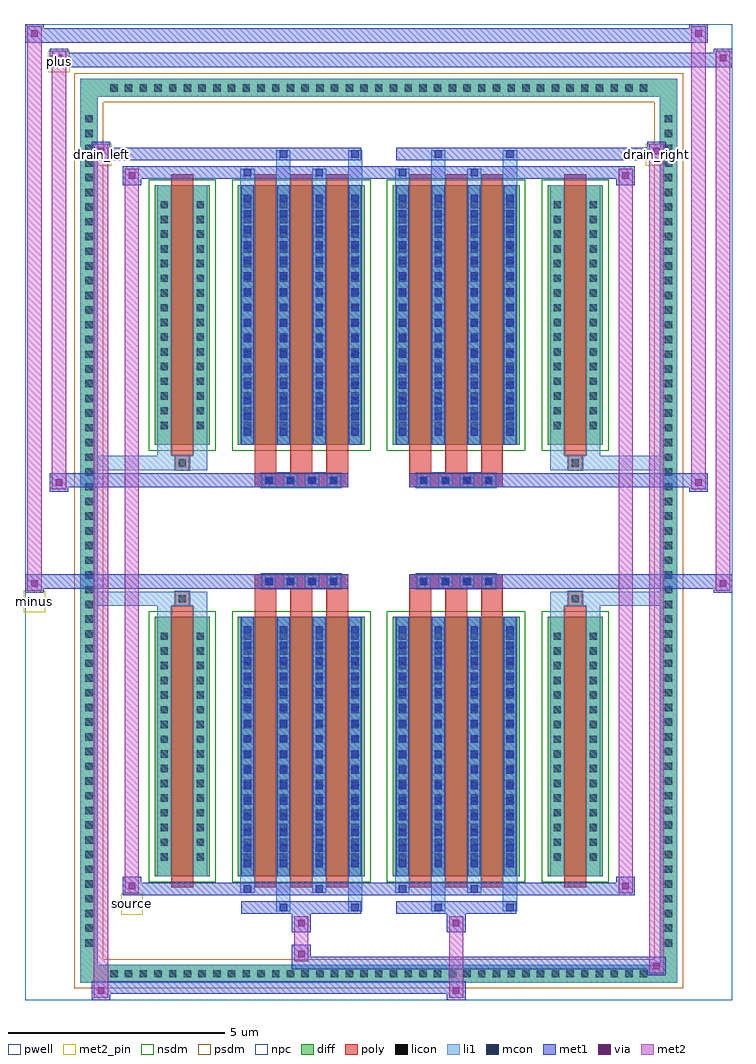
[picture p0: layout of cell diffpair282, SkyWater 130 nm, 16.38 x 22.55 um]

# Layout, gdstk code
import gdstk
lib = gdstk.Library(unit=1e-6, precision=5e-09)
def R(c, l, rs):  # rectangles x0, y0, x1, y1
    for r in rs: c.add(gdstk.rectangle(r[:2], r[2:], *l))
def A(c, l, x, y, w, h, nx, ny, dx, dy):  # array of equal rectangles
    R(c, l, [(x+i*dx, y+j*dy, x+i*dx+w, y+j*dy+h) for i in range(nx) for j in range(ny)])
def P(c, l, *ps):  # polygons
    for p in ps: c.add(gdstk.Polygon(p, *l))
pwell = (64, 44)
diff = (65, 20)
poly = (66, 20)
licon = (66, 44)
li1 = (67, 20)
mcon = (67, 44)
met1 = (68, 20)
via = (68, 44)
met2_pin = (69, 16)
met2 = (69, 20)
nsdm = (93, 44)
psdm = (94, 20)
npc = (95, 20)

diffpair282 = lib.new_cell('diffpair282')
R(diffpair282, pwell, [(-8.17,-10.84,8.17,11.71), (-5.49,-9.03,-0.01,-0.805), (0.01,-9.03,5.49,-0.805), (-5.49,0.805,-0.01,9.03), (0.01,0.805,5.49,9.03)])
A(diffpair282, diff, -6.325, -10.44, 0.41, 0.41, 37, 2, 0.34, 20.47)
A(diffpair282, diff, -6.9, -9.725, 0.41, 0.41, 1, 57, 0, 0.34)
A(diffpair282, diff, 6.49, -9.725, 0.41, 0.41, 1, 57, 0, 0.34)
R(diffpair282, diff, [(-6.325,-10.44,6.325,-10.03), (-6.9,-9.725,-6.49,9.725), (6.49,-9.725,6.9,9.725), (-5.18,-7.985,-3.9,-1.985), (-3.26,-7.985,-0.32,-1.985), (0.32,-7.985,3.26,-1.985), (3.9,-7.985,5.18,-1.985), (-5.18,1.985,-3.9,7.985), (-3.26,1.985,-0.32,7.985), (0.32,1.985,3.26,7.985), (3.9,1.985,5.18,7.985), (-6.325,10.03,6.325,10.44)])
P(diffpair282, diff, [(6.9,10.44),(-6.9,10.44),(-6.9,-10.03),(-6.49,-10.03),(-6.49,10.03),(6.49,10.03),(6.49,-10.03),(-6.49,-10.03),(-6.9,-10.03),(-6.9,-10.44),(6.9,-10.44)])
A(diffpair282, poly, -2.87, -8.235, 0.5, 6.5, 3, 2, 0.83, 9.97)
A(diffpair282, poly, 0.71, -8.235, 0.5, 6.5, 3, 2, 0.83, 9.97)
A(diffpair282, poly, -2.87, -1.735, 0.5, 0.4, 3, 2, 0.83, 3.07)
A(diffpair282, poly, 0.71, -1.735, 0.5, 0.4, 3, 2, 0.83, 3.07)
A(diffpair282, poly, -2.705, -1.335, 0.33, 0.33, 4, 2, 0.5, 2.34)
A(diffpair282, poly, 0.875, -1.335, 0.33, 0.33, 4, 2, 0.5, 2.34)
R(diffpair282, poly, [(-4.79,-8.235,-4.29,-1.735), (4.29,-8.235,4.79,-1.735), (-4.705,-1.735,-4.375,-1.405), (-4.705,-1.735,-4.375,-1.405), (4.375,-1.735,4.705,-1.405), (4.375,-1.735,4.705,-1.405), (-2.87,-1.335,-0.71,-1.005), (0.71,-1.335,2.87,-1.005), (-2.87,1.005,-0.71,1.335), (0.71,1.005,2.87,1.335), (-4.705,1.405,-4.375,1.735), (-4.705,1.405,-4.375,1.735), (4.375,1.405,4.705,1.735), (4.375,1.405,4.705,1.735), (-4.79,1.735,-4.29,8.235), (4.29,1.735,4.79,8.235)])
A(diffpair282, licon, -6.205, -10.32, 0.17, 0.17, 37, 2, 0.34, 20.47)
A(diffpair282, licon, -6.78, -9.605, 0.17, 0.17, 1, 57, 0, 0.34)
A(diffpair282, licon, 6.61, -9.605, 0.17, 0.17, 1, 57, 0, 0.34)
A(diffpair282, licon, -5.04, -7.62, 0.17, 0.17, 1, 16, 0, 0.34)
A(diffpair282, licon, -4.21, -7.62, 0.17, 0.17, 1, 16, 0, 0.34)
A(diffpair282, licon, -3.12, -7.62, 0.17, 0.17, 4, 16, 0.83, 0.34)
A(diffpair282, licon, 0.46, -7.62, 0.17, 0.17, 4, 16, 0.83, 0.34)
A(diffpair282, licon, 4.04, -7.62, 0.17, 0.17, 1, 16, 0, 0.34)
A(diffpair282, licon, 4.87, -7.62, 0.17, 0.17, 1, 16, 0, 0.34)
A(diffpair282, licon, -2.625, -1.255, 0.17, 0.17, 4, 2, 0.5, 2.34)
A(diffpair282, licon, 0.955, -1.255, 0.17, 0.17, 4, 2, 0.5, 2.34)
A(diffpair282, licon, -5.04, 2.35, 0.17, 0.17, 1, 16, 0, 0.34)
A(diffpair282, licon, -4.21, 2.35, 0.17, 0.17, 1, 16, 0, 0.34)
A(diffpair282, licon, -3.12, 2.35, 0.17, 0.17, 4, 16, 0.83, 0.34)
A(diffpair282, licon, 0.46, 2.35, 0.17, 0.17, 4, 16, 0.83, 0.34)
A(diffpair282, licon, 4.04, 2.35, 0.17, 0.17, 1, 16, 0, 0.34)
A(diffpair282, licon, 4.87, 2.35, 0.17, 0.17, 1, 16, 0, 0.34)
R(diffpair282, licon, [(-4.625,-1.655,-4.455,-1.485), (4.455,-1.655,4.625,-1.485), (-4.625,1.485,-4.455,1.655), (4.455,1.485,4.625,1.655)])
A(diffpair282, li1, -6.285, -10.4, 0.33, 0.33, 37, 2, 0.34, 20.47)
A(diffpair282, li1, -6.86, -9.685, 0.33, 0.33, 1, 57, 0, 0.34)
A(diffpair282, li1, 6.53, -9.685, 0.33, 0.33, 1, 57, 0, 0.34)
A(diffpair282, li1, -3.2, -7.985, 0.33, 6, 4, 2, 0.83, 9.97)
A(diffpair282, li1, 0.38, -7.985, 0.33, 6, 4, 2, 0.83, 9.97)
A(diffpair282, li1, -3.12, -7.77, 0.17, 0.17, 4, 16, 0.83, 0.36)
A(diffpair282, li1, -3.12, -7.77, 0.17, 5.57, 4, 2, 0.83, 9.97)
A(diffpair282, li1, 0.46, -7.77, 0.17, 0.17, 4, 16, 0.83, 0.36)
A(diffpair282, li1, 0.46, -7.77, 0.17, 5.57, 4, 2, 0.83, 9.97)
A(diffpair282, li1, -5.12, -7.7, 0.33, 0.33, 1, 16, 0, 0.34)
A(diffpair282, li1, -4.29, -7.7, 0.33, 0.33, 1, 16, 0, 0.34)
A(diffpair282, li1, -3.2, -7.7, 0.33, 0.33, 4, 16, 0.83, 0.34)
A(diffpair282, li1, 0.38, -7.7, 0.33, 0.33, 4, 16, 0.83, 0.34)
A(diffpair282, li1, 3.96, -7.7, 0.33, 0.33, 1, 16, 0, 0.34)
A(diffpair282, li1, 4.79, -7.7, 0.33, 0.33, 1, 16, 0, 0.34)
A(diffpair282, li1, -2.705, -1.335, 0.33, 0.33, 4, 2, 0.5, 2.34)
A(diffpair282, li1, 0.875, -1.335, 0.33, 0.33, 4, 2, 0.5, 2.34)
A(diffpair282, li1, -3.12, 2.2, 0.17, 0.17, 4, 16, 0.83, 0.36)
A(diffpair282, li1, 0.46, 2.2, 0.17, 0.17, 4, 16, 0.83, 0.36)
A(diffpair282, li1, -5.12, 2.27, 0.33, 0.33, 1, 16, 0, 0.34)
A(diffpair282, li1, -4.29, 2.27, 0.33, 0.33, 1, 16, 0, 0.34)
A(diffpair282, li1, -3.2, 2.27, 0.33, 0.33, 4, 16, 0.83, 0.34)
A(diffpair282, li1, 0.38, 2.27, 0.33, 0.33, 4, 16, 0.83, 0.34)
A(diffpair282, li1, 3.96, 2.27, 0.33, 0.33, 1, 16, 0, 0.34)
A(diffpair282, li1, 4.79, 2.27, 0.33, 0.33, 1, 16, 0, 0.34)
R(diffpair282, li1, [(-6.9,-10.44,-6.49,-10.03), (-6.9,-10.44,-6.49,-10.03), (-6.49,-10.44,6.49,-10.03), (6.49,-10.44,6.9,-10.03), (6.49,-10.44,6.9,-10.03), (-6.9,-10.03,-6.49,10.03), (6.49,-10.03,6.9,10.03), (-2.37,-8.79,-2.04,-7.985), (-2.29,-8.79,-2.12,-8.62), (-0.71,-8.79,-0.38,-7.985), (-0.63,-8.79,-0.46,-8.62), (1.21,-8.79,1.54,-7.985), (1.29,-8.79,1.46,-8.62), (2.87,-8.79,3.2,-7.985), (2.95,-8.79,3.12,-8.62), (-3.2,-8.36,-2.87,-7.985), (-3.12,-8.36,-2.95,-8.19), (-1.54,-8.36,-1.21,-7.985), (-1.46,-8.36,-1.29,-8.19), (0.38,-8.36,0.71,-7.985), (0.46,-8.36,0.63,-8.19), (2.04,-8.36,2.37,-7.985), (2.12,-8.36,2.29,-8.19), (-5.12,-7.985,-4.79,-1.985), (-4.29,-7.985,-3.96,-1.985), (3.96,-7.985,4.29,-1.985), (4.79,-7.985,5.12,-1.985), (-5.12,-1.985,-4.79,-1.405), (-4.29,-1.985,-3.96,-1.405), (3.96,-1.985,4.29,-1.405), (4.79,-1.985,5.12,-1.405), (-6.9,-1.735,-4.705,-1.405), (-5.12,-1.735,-4.705,-1.405), (-4.705,-1.735,-4.375,-1.405), (-4.375,-1.735,-3.96,-1.405), (3.96,-1.735,4.375,-1.405), (4.375,-1.735,4.705,-1.405), (4.375,-1.735,6.9,-1.405), (4.705,-1.735,5.12,-1.405), (-6.9,1.405,-4.705,1.735), (-5.12,1.405,-4.705,1.735), (-5.12,1.405,-4.79,1.985), (-4.705,1.405,-4.375,1.735), (-4.375,1.405,-3.96,1.735), (-4.29,1.405,-3.96,1.985), (3.96,1.405,4.375,1.735), (3.96,1.405,4.29,1.985), (4.375,1.405,4.705,1.735), (4.375,1.405,6.9,1.735), (4.705,1.405,5.12,1.735), (4.79,1.405,5.12,1.985), (-5.12,1.985,-4.79,7.985), (-4.29,1.985,-3.96,7.985), (3.96,1.985,4.29,7.985), (4.79,1.985,5.12,7.985), (-3.2,7.985,-2.87,8.36), (-2.37,7.985,-2.04,8.79), (-1.54,7.985,-1.21,8.36), (-0.71,7.985,-0.38,8.79), (0.38,7.985,0.71,8.36), (1.21,7.985,1.54,8.79), (2.04,7.985,2.37,8.36), (2.87,7.985,3.2,8.79), (-3.12,8.19,-2.95,8.36), (-1.46,8.19,-1.29,8.36), (0.46,8.19,0.63,8.36), (2.12,8.19,2.29,8.36), (-2.29,8.62,-2.12,8.79), (-0.63,8.62,-0.46,8.79), (1.29,8.62,1.46,8.79), (2.95,8.62,3.12,8.79), (-6.9,10.03,-6.49,10.44), (-6.9,10.03,-6.49,10.44), (-6.49,10.03,6.49,10.44), (6.49,10.03,6.9,10.44), (6.49,10.03,6.9,10.44)])
A(diffpair282, mcon, -3.12, -7.77, 0.17, 0.17, 4, 16, 0.83, 0.36)
A(diffpair282, mcon, 0.46, -7.77, 0.17, 0.17, 4, 16, 0.83, 0.36)
A(diffpair282, mcon, -2.625, -1.255, 0.17, 0.17, 4, 2, 0.5, 2.34)
A(diffpair282, mcon, 0.955, -1.255, 0.17, 0.17, 4, 2, 0.5, 2.34)
A(diffpair282, mcon, -3.12, 2.2, 0.17, 0.17, 4, 16, 0.83, 0.36)
A(diffpair282, mcon, 0.46, 2.2, 0.17, 0.17, 4, 16, 0.83, 0.36)
R(diffpair282, mcon, [(-2.29,-8.79,-2.12,-8.62), (-0.63,-8.79,-0.46,-8.62), (1.29,-8.79,1.46,-8.62), (2.95,-8.79,3.12,-8.62), (-3.12,-8.36,-2.95,-8.19), (-1.46,-8.36,-1.29,-8.19), (0.46,-8.36,0.63,-8.19), (2.12,-8.36,2.29,-8.19), (-3.12,8.19,-2.95,8.36), (-1.46,8.19,-1.29,8.36), (0.46,8.19,0.63,8.36), (2.12,8.19,2.29,8.36), (-2.29,8.62,-2.12,8.79), (-0.63,8.62,-0.46,8.79), (1.29,8.62,1.46,8.79), (2.95,8.62,3.12,8.79)])
A(diffpair282, met1, -3.18, -7.985, 0.29, 6, 4, 2, 0.83, 9.97)
A(diffpair282, met1, 0.4, -7.985, 0.29, 6, 4, 2, 0.83, 9.97)
A(diffpair282, met1, -3.18, -7.83, 0.29, 0.29, 4, 16, 0.83, 0.36)
A(diffpair282, met1, 0.4, -7.83, 0.29, 0.29, 4, 16, 0.83, 0.36)
A(diffpair282, met1, -2.685, -1.315, 0.29, 0.29, 4, 2, 0.5, 2.34)
A(diffpair282, met1, 0.895, -1.315, 0.29, 0.29, 4, 2, 0.5, 2.34)
A(diffpair282, met1, -3.18, 2.14, 0.29, 0.29, 4, 16, 0.83, 0.36)
A(diffpair282, met1, 0.4, 2.14, 0.29, 0.29, 4, 16, 0.83, 0.36)
R(diffpair282, met1, [(-6.63,-10.84,-6.2,-10.41), (1.575,-10.84,2.005,-10.41), (-6.63,-10.7,2.005,-10.41), (6.2,-10.27,6.63,-9.84), (-2.005,-10.13,6.63,-9.84), (-2.005,-9.99,-1.575,-9.56), (-2.005,-9.28,-1.575,-8.85), (1.575,-9.28,2.005,-8.85), (-3.18,-8.85,-0.4,-8.56), (-2.35,-8.85,-2.06,-8.56), (-0.69,-8.85,-0.4,-8.56), (0.4,-8.85,3.18,-8.56), (1.23,-8.85,1.52,-8.56), (2.89,-8.85,3.18,-8.56), (-5.92,-8.42,-5.49,-7.99), (-5.92,-8.42,-3.18,-8.13), (-3.18,-8.42,-2.89,-8.13), (-3.18,-8.42,-0.4,-8.13), (-1.52,-8.42,-1.23,-8.13), (-0.4,-8.42,0.4,-8.13), (0.4,-8.42,0.69,-8.13), (0.4,-8.42,3.18,-8.13), (2.06,-8.42,2.35,-8.13), (3.18,-8.42,5.92,-8.13), (5.49,-8.42,5.92,-7.99), (-8.17,-1.435,-7.74,-1.005), (7.74,-1.435,8.17,-1.005), (-8.17,-1.335,-0.71,-1.005), (-2.87,-1.335,-0.71,-1.005), (0.71,-1.335,2.87,-1.005), (0.71,-1.335,8.17,-1.005), (-7.6,0.905,-7.17,1.335), (7.17,0.905,7.6,1.335), (-7.6,1.005,-2.87,1.335), (-2.87,1.005,-0.71,1.335), (0.71,1.005,2.87,1.335), (2.87,1.005,7.6,1.335), (-5.92,7.99,-5.49,8.42), (5.49,7.99,5.92,8.42), (-5.92,8.13,-3.18,8.42), (-3.18,8.13,-2.89,8.42), (-3.18,8.13,-0.4,8.42), (-1.52,8.13,-1.23,8.42), (-0.4,8.13,0.4,8.42), (0.4,8.13,0.69,8.42), (0.4,8.13,3.18,8.42), (2.06,8.13,2.35,8.42), (3.18,8.13,5.92,8.42), (-6.63,8.56,-6.2,8.99), (-6.63,8.56,-3.18,8.85), (-3.18,8.56,-0.4,8.85), (-2.35,8.56,-2.06,8.85), (-0.69,8.56,-0.4,8.85), (0.4,8.56,3.18,8.85), (1.23,8.56,1.52,8.85), (2.89,8.56,3.18,8.85), (3.18,8.56,6.63,8.85), (6.2,8.56,6.63,8.99), (-7.6,10.71,-7.17,11.14), (-7.6,10.71,-5.49,11.04), (-5.49,10.71,5.49,11.04), (5.49,10.71,8.17,11.04), (7.74,10.71,8.17,11.14), (-8.17,11.28,-7.74,11.71), (-8.17,11.28,-5.49,11.61), (-5.49,11.28,5.49,11.61), (5.49,11.28,7.6,11.61), (7.17,11.28,7.6,11.71)])
R(diffpair282, via, [(-6.49,-10.7,-6.34,-10.55), (1.715,-10.7,1.865,-10.55), (6.34,-10.13,6.49,-9.98), (-1.865,-9.85,-1.715,-9.7), (-1.865,-9.14,-1.715,-8.99), (1.715,-9.14,1.865,-8.99), (-5.78,-8.28,-5.63,-8.13), (5.63,-8.28,5.78,-8.13), (-8.03,-1.295,-7.88,-1.145), (7.88,-1.295,8.03,-1.145), (-7.46,1.045,-7.31,1.195), (7.31,1.045,7.46,1.195), (-5.78,8.13,-5.63,8.28), (5.63,8.13,5.78,8.28), (-6.49,8.7,-6.34,8.85), (6.34,8.7,6.49,8.85), (-7.46,10.85,-7.31,11), (7.88,10.85,8.03,11), (-8.03,11.42,-7.88,11.57), (7.31,11.42,7.46,11.57)])
R(diffpair282, met2_pin, [(-5.955,-8.87,-5.455,-8.37), (-8.205,-1.885,-7.705,-1.385), (-6.665,8.44,-6.165,8.94), (6.165,8.44,6.665,8.94), (-7.635,10.59,-7.135,11.09)])
R(diffpair282, met2, [(-6.58,-10.79,-6.25,-10.46), (-6.58,-10.79,-6.25,8.94), (1.625,-10.79,1.955,-10.46), (1.625,-10.46,1.955,-9.23), (6.25,-10.22,6.58,-9.89), (6.25,-10.22,6.58,8.94), (-1.955,-9.94,-1.625,-9.61), (-1.955,-9.61,-1.625,-9.23), (-1.955,-9.23,-1.625,-8.9), (1.625,-9.23,1.955,-8.9), (-5.87,-8.37,-5.54,-8.04), (-5.87,-8.37,-5.54,8.37), (5.54,-8.37,5.87,-8.04), (5.54,-8.37,5.87,8.37), (-8.12,-1.385,-7.79,-1.055), (-8.12,-1.385,-7.79,11.66), (7.79,-1.385,8.12,-1.055), (7.79,-1.385,8.12,11.09), (-7.55,0.955,-7.22,1.285), (-7.55,0.955,-7.22,11.09), (7.22,0.955,7.55,1.285), (7.22,0.955,7.55,11.66), (-5.87,8.04,-5.54,8.37), (5.54,8.04,5.87,8.37), (-6.58,8.61,-6.25,8.94), (6.25,8.61,6.58,8.94), (-7.55,10.76,-7.22,11.09), (7.79,10.76,8.12,11.09), (-8.12,11.33,-7.79,11.66), (7.22,11.33,7.55,11.66)])
P(diffpair282, met2, [(8.12,-1.385),(8.12,-1.385),(8.12,-1.055),(8.12,-1.055)],
  [(8.12,10.76),(8.12,10.76),(8.12,11.09),(8.12,11.09)],
  [(-7.79,-1.385),(-7.79,-1.385),(-7.79,-1.055),(-7.79,-1.055)],
  [(-7.79,11.33),(-7.79,11.33),(-7.79,11.66),(-7.79,11.66)],
  [(7.55,0.955),(7.55,0.955),(7.55,1.285),(7.55,1.285)],
  [(7.55,11.33),(7.55,11.33),(7.55,11.66),(7.55,11.66)],
  [(-7.22,0.955),(-7.22,0.955),(-7.22,1.285),(-7.22,1.285)],
  [(-7.22,10.76),(-7.22,10.76),(-7.22,11.09),(-7.22,11.09)],
  [(-6.25,-10.79),(-6.25,-10.79),(-6.25,-10.46),(-6.25,-10.46)],
  [(-6.25,8.61),(-6.25,8.61),(-6.25,8.94),(-6.25,8.94)],
  [(6.58,-10.22),(6.58,-10.22),(6.58,-9.89),(6.58,-9.89)],
  [(6.58,8.61),(6.58,8.61),(6.58,8.94),(6.58,8.94)],
  [(-5.54,-8.37),(-5.54,-8.37),(-5.54,-8.04),(-5.54,-8.04)],
  [(-5.54,8.04),(-5.54,8.04),(-5.54,8.37),(-5.54,8.37)],
  [(5.87,-8.37),(5.87,-8.37),(5.87,-8.04),(5.87,-8.04)],
  [(5.87,8.04),(5.87,8.04),(5.87,8.37),(5.87,8.37)])
R(diffpair282, nsdm, [(-5.31,-8.115,-3.77,-1.855), (-3.39,-8.115,-0.19,-1.855), (0.19,-8.115,3.39,-1.855), (3.77,-8.115,5.31,-1.855), (-5.31,1.855,-3.77,8.115), (-3.39,1.855,-0.19,8.115), (0.19,1.855,3.39,8.115), (3.77,1.855,5.31,8.115)])
P(diffpair282, psdm, [(7.03,10.57),(-7.03,10.57),(-7.03,-9.9),(-6.36,-9.9),(-6.36,9.9),(6.36,9.9),(6.36,-9.9),(-6.36,-9.9),(-7.03,-9.9),(-7.03,-10.57),(7.03,-10.57)])
A(diffpair282, npc, -2.725, -1.355, 0.37, 0.37, 4, 2, 0.5, 2.34)
A(diffpair282, npc, 0.855, -1.355, 0.37, 0.37, 4, 2, 0.5, 2.34)
R(diffpair282, npc, [(-4.725,-1.755,-4.355,-1.385), (4.355,-1.755,4.725,-1.385), (-2.725,-1.355,-1.855,-0.985), (-2.725,-1.355,-1.855,-0.985), (-2.225,-1.355,-1.355,-0.985), (-2.225,-1.355,-1.355,-0.985), (-1.725,-1.355,-0.855,-0.985), (-1.725,-1.355,-0.855,-0.985), (0.855,-1.355,1.725,-0.985), (0.855,-1.355,1.725,-0.985), (1.355,-1.355,2.225,-0.985), (1.355,-1.355,2.225,-0.985), (1.855,-1.355,2.725,-0.985), (1.855,-1.355,2.725,-0.985), (-2.725,0.985,-1.855,1.355), (-2.725,0.985,-1.855,1.355), (-2.225,0.985,-1.355,1.355), (-2.225,0.985,-1.355,1.355), (-1.725,0.985,-0.855,1.355), (-1.725,0.985,-0.855,1.355), (0.855,0.985,1.725,1.355), (0.855,0.985,1.725,1.355), (1.355,0.985,2.225,1.355), (1.355,0.985,2.225,1.355), (1.855,0.985,2.725,1.355), (1.855,0.985,2.725,1.355), (-4.725,1.385,-4.355,1.755), (4.355,1.385,4.725,1.755)])
diffpair282.add(gdstk.Label('minus', (-7.955,-1.635), layer=69, texttype=5))
diffpair282.add(gdstk.Label('drain_right', (6.415,8.69), layer=69, texttype=5))
diffpair282.add(gdstk.Label('drain_left', (-6.415,8.69), layer=69, texttype=5))
diffpair282.add(gdstk.Label('source', (-5.705,-8.62), layer=69, texttype=5))
diffpair282.add(gdstk.Label('plus', (-7.385,10.84), layer=69, texttype=5))

lib.write_gds('diffpair282.gds')
